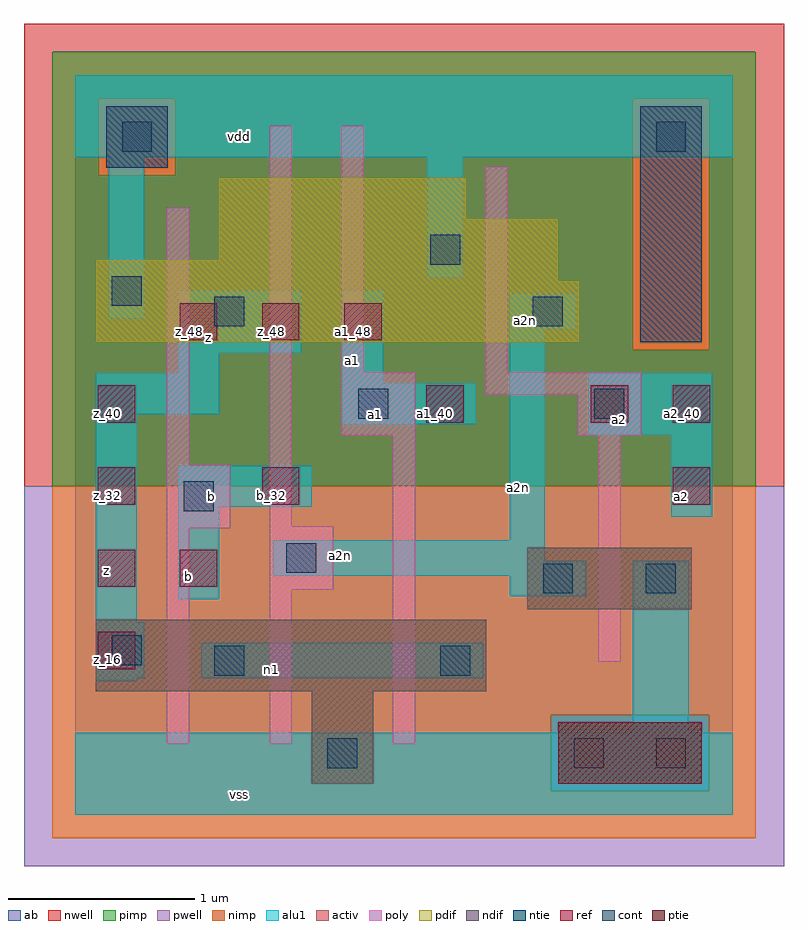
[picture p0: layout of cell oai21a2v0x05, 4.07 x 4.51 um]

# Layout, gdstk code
import gdstk
lib = gdstk.Library(unit=1e-6, precision=2.5e-09)
def R(c, l, rs):  # rectangles x0, y0, x1, y1
    for r in rs: c.add(gdstk.rectangle(r[:2], r[2:], *l))
def A(c, l, x, y, w, h, nx, ny, dx, dy):  # array of equal rectangles
    R(c, l, [(x+i*dx, y+j*dy, x+i*dx+w, y+j*dy+h) for i in range(nx) for j in range(ny)])
ndif = (3, 0)
pdif = (4, 0)
ntie = (5, 0)
ptie = (6, 0)
ref = (24, 0)
cont = (25, 0)
pwell = (41, 0)
nwell = (42, 0)
activ = (43, 0)
pimp = (44, 0)
nimp = (45, 0)
poly = (46, 0)
alu1 = (49, 0)
ab = (63, 0)

oai21a2v0x05 = lib.new_cell('oai21a2v0x05')
R(oai21a2v0x05, ndif, [(1.265,0.165,1.595,0.66), (0.11,0.66,2.2,1.045), (2.42,1.1,3.3,1.43)])
R(oai21a2v0x05, pdif, [(0.11,2.53,2.695,2.86), (0.11,2.86,2.585,2.97), (0.77,2.97,2.585,3.19), (0.77,3.19,2.09,3.41)])
R(oai21a2v0x05, ntie, [(3.025,2.53,3.355,3.795), (0.165,3.465,0.495,3.795)])
R(oai21a2v0x05, ptie, [(2.585,0.165,3.355,0.495)])
A(oai21a2v0x05, ref, 0.12, 0.78, 0.2, 0.2, 1, 4, 0, 0.44)
A(oai21a2v0x05, ref, 0.56, 2.54, 0.2, 0.2, 3, 1, 0.44, 0)
R(oai21a2v0x05, ref, [(0.56,1.22,0.76,1.42), (1,1.66,1.2,1.86), (3.2,1.66,3.4,1.86), (1.88,2.1,2.08,2.3), (2.76,2.1,2.96,2.3), (3.2,2.1,3.4,2.3)])
R(oai21a2v0x05, cont, [(1.35,0.25,1.51,0.41), (2.67,0.25,2.83,0.41), (3.11,0.25,3.27,0.41), (0.745,0.745,0.905,0.905), (1.955,0.745,2.115,0.905), (0.195,0.8,0.355,0.96), (2.505,1.185,2.665,1.345), (3.055,1.185,3.215,1.345), (1.13,1.295,1.29,1.455), (0.58,1.625,0.74,1.785), (1.515,2.12,1.675,2.28), (2.78,2.12,2.94,2.28), (0.745,2.615,0.905,2.775), (2.45,2.615,2.61,2.775), (0.195,2.725,0.355,2.885), (1.9,2.945,2.06,3.105), (0.25,3.55,0.41,3.71), (3.11,3.55,3.27,3.71)])
R(oai21a2v0x05, pwell, [(-0.275,-0.275,3.795,1.76)])
R(oai21a2v0x05, nwell, [(-0.275,1.76,3.795,4.235)])
R(oai21a2v0x05, activ, [(1.265,0.165,1.595,0.66), (2.585,0.165,3.355,0.495), (0.11,0.66,2.2,1.045), (2.42,1.1,3.3,1.43), (0.11,2.53,2.695,2.86), (3.025,2.53,3.355,3.795), (0.11,2.86,2.585,2.97), (0.77,2.97,2.585,3.19), (0.77,3.19,2.09,3.41), (0.165,3.465,0.495,3.795)])
R(oai21a2v0x05, pimp, [(2.545,0.125,3.395,0.535), (-0.125,1.76,3.645,2.49), (-0.125,2.49,2.985,3.425), (3.395,2.49,3.645,3.835), (-0.125,3.425,0.125,3.835), (0.535,3.425,2.985,3.835), (-0.125,3.835,3.645,4.085)])
R(oai21a2v0x05, nimp, [(-0.125,-0.125,3.645,0.125), (-0.125,0.125,2.545,0.535), (3.395,0.125,3.645,0.535), (-0.125,0.535,3.645,1.76), (2.985,2.49,3.395,3.835), (0.125,3.425,0.535,3.835)])
R(oai21a2v0x05, poly, [(0.49,0.38,0.61,1.535), (1.04,0.38,1.16,1.205), (1.7,0.38,1.82,2.03), (2.8,0.82,2.92,2.03), (1.04,1.205,1.38,1.545), (0.49,1.535,0.83,1.875), (1.04,1.545,1.16,3.69), (0.49,1.875,0.61,3.25), (1.425,2.03,1.82,2.37), (2.69,2.03,3.03,2.25), (2.195,2.25,3.03,2.37), (1.425,2.37,1.545,3.69), (2.195,2.37,2.315,3.47)])
R(oai21a2v0x05, alu1, [(0,0,3.52,0.44), (2.985,0.44,3.285,1.36), (0.11,0.715,0.33,0.73), (0.11,0.73,0.37,1.03), (0.675,0.73,2.185,0.92), (0.11,1.03,0.33,2.145), (0.55,1.155,0.77,1.65), (2.325,1.17,2.735,1.28), (1.06,1.28,2.735,1.36), (1.06,1.36,2.515,1.47), (2.325,1.47,2.515,2.6), (3.19,1.595,3.41,2.035), (0.55,1.65,1.265,1.87), (2.75,2.035,3.41,2.365), (1.43,2.09,2.145,2.31), (0.11,2.145,0.77,2.365), (1.43,2.31,1.65,2.805), (0.55,2.365,0.77,2.475), (0.55,2.475,1.21,2.805), (2.325,2.6,2.68,2.79), (0.18,2.655,0.37,3.52), (1.885,2.875,2.075,3.52), (0,3.52,3.52,3.96)])
R(oai21a2v0x05, ab, [(0,0,3.52,3.96)])
oai21a2v0x05.add(gdstk.Label('vss', (0.88,0.11), layer=49, texttype=0))
oai21a2v0x05.add(gdstk.Label('n1', (1.0525,0.7775), layer=49, texttype=0))
oai21a2v0x05.add(gdstk.Label('a2n', (1.4225,1.3875), layer=49, texttype=0))
oai21a2v0x05.add(gdstk.Label('a2', (3.245,1.705), layer=49, texttype=0))
oai21a2v0x05.add(gdstk.Label('a2', (2.915,2.1175), layer=49, texttype=0))
oai21a2v0x05.add(gdstk.Label('a2n', (2.3725,1.7525), layer=49, texttype=0))
oai21a2v0x05.add(gdstk.Label('b', (0.605,1.2775), layer=49, texttype=0))
oai21a2v0x05.add(gdstk.Label('b', (0.7275,1.705), layer=49, texttype=0))
oai21a2v0x05.add(gdstk.Label('a1', (1.6075,2.145), layer=49, texttype=0))
oai21a2v0x05.add(gdstk.Label('z', (0.165,1.3075), layer=49, texttype=0))
oai21a2v0x05.add(gdstk.Label('a2n', (2.4125,2.6475), layer=49, texttype=0))
oai21a2v0x05.add(gdstk.Label('a1', (1.485,2.4325), layer=49, texttype=0))
oai21a2v0x05.add(gdstk.Label('z', (0.715,2.5575), layer=49, texttype=0))
oai21a2v0x05.add(gdstk.Label('vdd', (0.88,3.63), layer=49, texttype=0))
oai21a2v0x05.add(gdstk.Label('a2_32', (3.25,1.71), layer=24, texttype=0))
oai21a2v0x05.add(gdstk.Label('z_48', (1.05,2.59), layer=24, texttype=0))
oai21a2v0x05.add(gdstk.Label('z_48', (0.61,2.59), layer=24, texttype=0))
oai21a2v0x05.add(gdstk.Label('b_24', (0.61,1.27), layer=24, texttype=0))
oai21a2v0x05.add(gdstk.Label('b_32', (1.05,1.71), layer=24, texttype=0))
oai21a2v0x05.add(gdstk.Label('a1_48', (1.49,2.59), layer=24, texttype=0))
oai21a2v0x05.add(gdstk.Label('a2_40', (3.25,2.15), layer=24, texttype=0))
oai21a2v0x05.add(gdstk.Label('a2_40', (2.81,2.15), layer=24, texttype=0))
oai21a2v0x05.add(gdstk.Label('a1_40', (1.93,2.15), layer=24, texttype=0))
oai21a2v0x05.add(gdstk.Label('z_40', (0.17,2.15), layer=24, texttype=0))
oai21a2v0x05.add(gdstk.Label('z_32', (0.17,1.71), layer=24, texttype=0))
oai21a2v0x05.add(gdstk.Label('z_24', (0.17,1.27), layer=24, texttype=0))
oai21a2v0x05.add(gdstk.Label('z_16', (0.17,0.83), layer=24, texttype=0))

lib.write_gds('oai21a2v0x05.gds')
